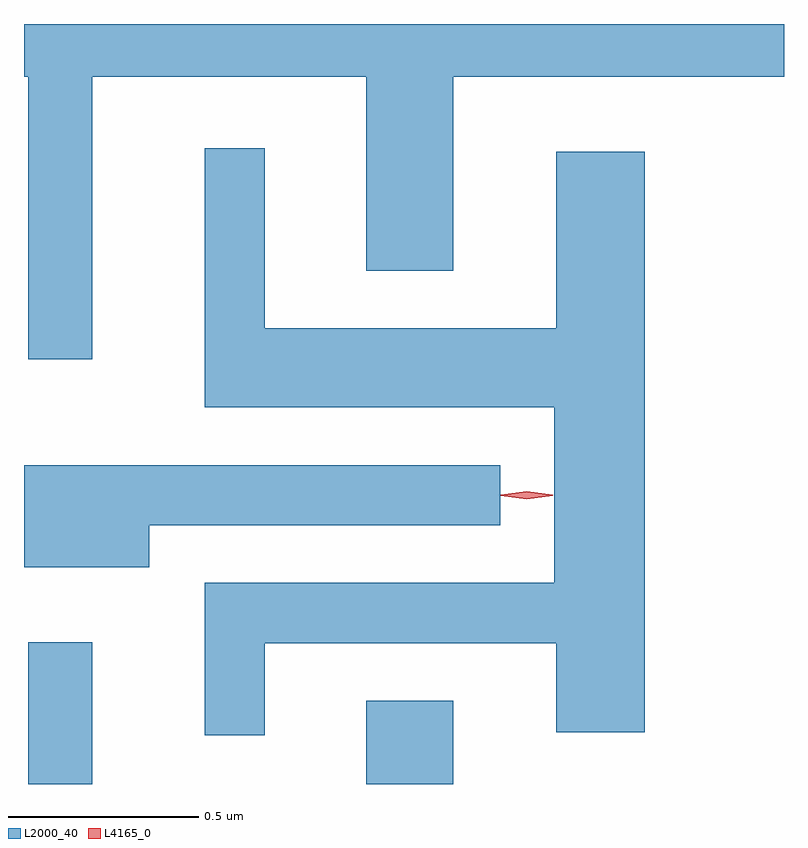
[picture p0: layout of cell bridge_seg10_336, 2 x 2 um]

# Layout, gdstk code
import gdstk
lib = gdstk.Library(unit=1e-6, precision=1e-09)
def R(c, l, rs):  # rectangles x0, y0, x1, y1
    for r in rs: c.add(gdstk.rectangle(r[:2], r[2:], *l))
def P(c, l, *ps):  # polygons
    for p in ps: c.add(gdstk.Polygon(p, *l))
L2000_40 = (2000, 40)
L4165_0 = (4165, 0)

bridge_seg10_336 = lib.new_cell('bridge_seg10_336')
R(bridge_seg10_336, L2000_40, [(1417.481,2191.975,1417.649,2192.348), (1418.371,2191.975,1418.599,2192.194)])
P(bridge_seg10_336, L2000_40, [(1417.649,2193.836),(1418.371,2193.836),(1418.371,2193.326),(1418.599,2193.326),(1418.599,2193.836),(1419.47,2193.836),(1419.47,2193.975),(1417.47,2193.975),(1417.47,2193.836),(1417.481,2193.836),(1417.481,2193.093),(1417.649,2193.093)],
  [(1418.104,2192.346),(1418.871,2192.346),(1418.871,2192.111),(1419.104,2192.111),(1419.104,2193.639),(1418.871,2193.639),(1418.871,2193.174),(1418.104,2193.174),(1418.104,2193.648),(1417.946,2193.648),(1417.946,2192.966),(1418.866,2192.966),(1418.866,2192.504),(1417.946,2192.504),(1417.946,2192.103),(1418.104,2192.103)],
  [(1417.799,2192.656),(1418.723,2192.656),(1418.723,2192.814),(1417.47,2192.814),(1417.47,2192.546),(1417.799,2192.546)])
P(bridge_seg10_336, L4165_0, [(1418.793,2192.725),(1418.724,2192.734),(1418.724,2192.735),(1418.724,2192.736),(1418.793,2192.745),(1418.862,2192.736),(1418.862,2192.735),(1418.862,2192.734)],
  [(1418.793,2192.725),(1418.727,2192.734),(1418.727,2192.735),(1418.727,2192.736),(1418.793,2192.745),(1418.859,2192.736),(1418.859,2192.735),(1418.859,2192.734)])

lib.write_gds('bridge_seg10_336.gds')
